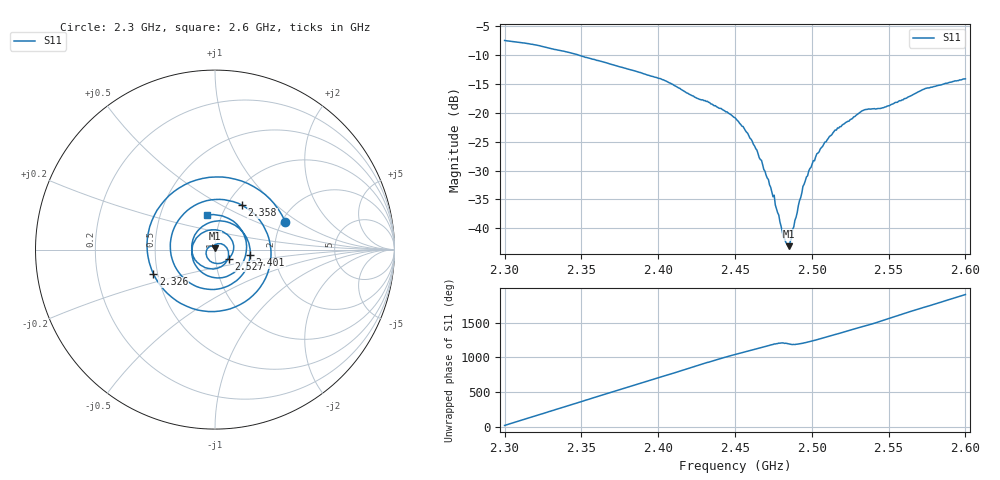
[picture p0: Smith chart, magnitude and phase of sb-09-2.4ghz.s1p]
! NanoVNA-App
! Date: 2026-05-22 17:35:10
! Start: 2.3GHz Stop: 2.6GHz Points: 401
! S-Parameter data: F S11
# Hz S RI R 50
!  Frequency  S11_Real  S11_Imag
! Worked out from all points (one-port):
!   401 points, 2.3 GHz to 2.6 GHz, reference 50 ohm
!   lowest |S11| = -43.1 dB at 2.485 GHz (marker M1), VSWR 1.01, Z = 49.7 + j0.647 ohm
!   |S11| at or under -10 dB: 2.348 GHz to end of sweep
!   S11 on the Smith chart (normalised r, x): 2.3 GHz: 2.08, +0.79; 2.326 GHz: 0.47, -0.15; 2.358 GHz: 1.17, +0.63; 2.401 GHz: 1.48, -0.10; 2.527 GHz: 1.16, -0.12; 2.6 GHz: 0.85, +0.34
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2.3e9  0.3914 0.156
2.30675e9  0.1492 0.3819
2.312e9  -0.1044 0.3875
2.3195e9  -0.352 0.16
2.32625e9  -0.3431 -0.1366
2.3375e9  0.055 -0.3375
2.348e9  0.3115 -0.0481
2.35775e9  0.1514 0.2468
2.36525e9  -0.0945 0.2558
2.375e9  -0.2489 0.0134
2.38775e9  -0.0221 -0.2221
2.4005e9  0.1953 -0.0309
2.4125e9  0.0538 0.1573
2.4275e9  -0.1296 0.00635
2.43875e9  -0.0367 -0.105
2.45e9  0.0704 -0.0569
2.46575e9  0.025 0.0323
2.48525e9  -0.00261 0.0065
2.4875e9  -0.00245 0.00948
2.495e9  -0.0151 0.0187
2.50175e9  -0.0369 0.0104
2.525e9  0.0579 -0.0652
2.52725e9  0.0767 -0.0507
2.54675e9  -0.00794 0.1102
2.5625e9  -0.1208 -0.0628
2.57375e9  0.0404 -0.1564
2.58425e9  0.1734 -0.015
2.6e9  -0.0451 0.1909
